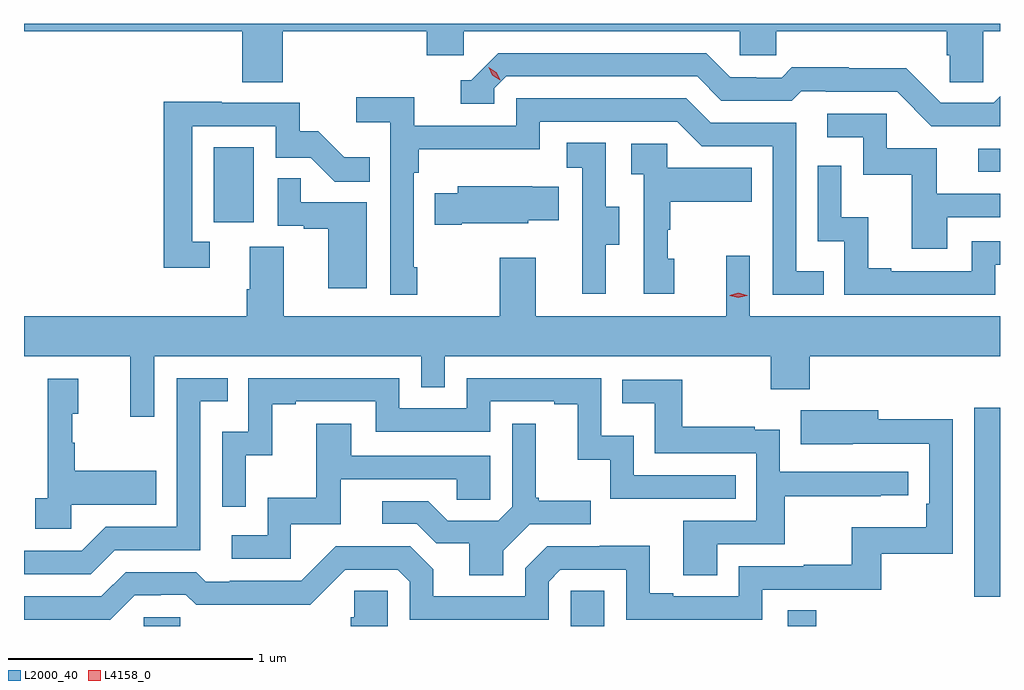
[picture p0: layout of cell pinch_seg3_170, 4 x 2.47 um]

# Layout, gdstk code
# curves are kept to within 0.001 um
import gdstk
lib = gdstk.Library(unit=1e-6, precision=1e-09)
def R(c, l, rs):  # rectangles x0, y0, x1, y1
    for r in rs: c.add(gdstk.rectangle(r[:2], r[2:], *l))
def P(c, l, *ps):  # polygons
    for p in ps: c.add(gdstk.Polygon(p, *l))
L2000_40 = (2000, 40)
L4158_0 = (4158, 0)

pinch_seg3_170 = lib.new_cell('pinch_seg3_170')
R(pinch_seg3_170, L2000_40, [(983.991,746.429,984.141,746.466), (985.74,746.429,985.879,746.576), (986.631,746.429,986.747,746.495), (987.395,746.55,987.5,747.325), (984.278,748.086,984.442,748.393), (987.411,748.293,987.5,748.386)])
P(pinch_seg3_170, L2000_40, [(984.56,748.868),(985.151,748.868),(985.151,748.77),(985.302,748.77),(985.302,748.868),(986.433,748.868),(986.433,748.77),(986.583,748.77),(986.583,748.868),(987.281,748.868),(987.281,748.77),(987.295,748.77),(987.295,748.66),(987.432,748.66),(987.432,748.868),(987.5,748.868),(987.5,748.9),(983.5,748.9),(983.5,748.868),(984.395,748.868),(984.395,748.66),(984.56,748.66)],
  [(987.5,748.601),(987.474,748.575),(987.258,748.575),(987.116,748.717),(986.88,748.717),(986.88,748.72),(986.647,748.72),(986.605,748.677),(986.502,748.677),(986.502,748.68),(986.395,748.68),(986.296,748.779),(985.443,748.779),(985.332,748.668),(985.289,748.668),(985.289,748.572),(985.428,748.572),(985.428,748.635),(985.476,748.683),(986.259,748.683),(986.358,748.584),(986.647,748.584),(986.686,748.623),(986.785,748.623),(986.785,748.62),(987.078,748.62),(987.219,748.479),(987.5,748.479)],
  [(985.111,747.901),(985.098,747.901),(985.098,748.289),(985.118,748.289),(985.118,748.385),(985.614,748.385),(985.614,748.497),(986.178,748.497),(986.277,748.398),(986.568,748.398),(986.568,747.789),(986.777,747.789),(986.777,747.885),(986.664,747.885),(986.664,748.494),(986.314,748.494),(986.215,748.593),(985.518,748.593),(985.518,748.482),(985.1,748.482),(985.1,748.598),(984.861,748.598),(984.861,748.496),(985.002,748.496),(985.002,747.789),(985.111,747.789)],
  [(984.262,748.005),(984.189,748.005),(984.189,748.479),(984.531,748.479),(984.531,748.35),(984.675,748.35),(984.773,748.252),(984.917,748.252),(984.917,748.351),(984.813,748.351),(984.706,748.458),(984.63,748.458),(984.63,748.575),(984.311,748.575),(984.311,748.58),(984.073,748.58),(984.073,747.9),(984.262,747.9)],
  [(987.283,748.107),(987.5,748.107),(987.5,748.203),(987.241,748.203),(987.241,748.389),(987.036,748.389),(987.036,748.53),(986.793,748.53),(986.793,748.434),(986.94,748.434),(986.94,748.281),(987.139,748.281),(987.139,747.978),(987.283,747.978)],
  [(985.885,747.994),(985.939,747.994),(985.939,748.149),(985.884,748.149),(985.884,748.412),(985.725,748.412),(985.725,748.309),(985.788,748.309),(985.788,748.005),(985.787,748.005),(985.787,747.792),(985.885,747.792)],
  [(986.164,747.936),(986.139,747.936),(986.139,748.055),(986.149,748.055),(986.149,748.169),(986.483,748.169),(986.483,748.309),(986.136,748.309),(986.136,748.407),(985.989,748.407),(985.989,748.283),(986.04,748.283),(986.04,747.792),(986.164,747.792)],
  [(987.48,747.912),(987.5,747.912),(987.5,748.008),(987.384,748.008),(987.384,747.885),(987.055,747.885),(987.055,747.898),(986.96,747.898),(986.96,748.106),(986.85,748.106),(986.85,748.318),(986.754,748.318),(986.754,748.008),(986.862,748.008),(986.862,747.789),(987.48,747.789)],
  [(984.904,748.167),(984.635,748.167),(984.635,748.265),(984.54,748.265),(984.54,748.071),(984.647,748.071),(984.647,748.059),(984.746,748.059),(984.746,747.816),(984.904,747.816)],
  [(985.294,748.082),(985.566,748.082),(985.566,748.094),(985.691,748.094),(985.691,748.231),(985.583,748.231),(985.583,748.234),(985.277,748.234),(985.277,748.204),(985.183,748.204),(985.183,748.075),(985.294,748.075)],
  [(985.128,747.409),(985.224,747.409),(985.224,747.536),(986.56,747.536),(986.56,747.401),(986.72,747.401),(986.72,747.536),(987.5,747.536),(987.5,747.7),(986.475,747.7),(986.475,747.949),(986.378,747.949),(986.378,747.7),(985.597,747.7),(985.597,747.94),(985.45,747.94),(985.45,747.7),(984.565,747.7),(984.565,747.986),(984.425,747.986),(984.425,747.812),(984.413,747.812),(984.413,747.7),(983.5,747.7),(983.5,747.536),(983.936,747.536),(983.936,747.288),(984.033,747.288),(984.033,747.536),(985.128,747.536)],
  [(984.408,747.131),(984.518,747.131),(984.518,747.339),(984.613,747.339),(984.613,747.351),(984.942,747.351),(984.942,747.228),(985.41,747.228),(985.41,747.351),(985.673,747.351),(985.673,747.339),(985.769,747.339),(985.769,747.113),(985.902,747.113),(985.902,746.952),(986.417,746.952),(986.417,747.048),(985.998,747.048),(985.998,747.211),(985.866,747.211),(985.866,747.447),(985.314,747.447),(985.314,747.324),(985.038,747.324),(985.038,747.447),(984.42,747.447),(984.42,747.228),(984.312,747.228),(984.312,746.919),(984.408,746.919)],
  [(983.872,746.742),(984.222,746.742),(984.222,747.351),(984.335,747.351),(984.335,747.447),(984.126,747.447),(984.126,746.838),(983.835,746.838),(983.736,746.739),(983.5,746.739),(983.5,746.643),(983.773,746.643)],
  [(983.694,746.927),(984.041,746.927),(984.041,747.067),(983.707,747.067),(983.707,747.182),(983.697,747.182),(983.697,747.3),(983.722,747.3),(983.722,747.445),(983.598,747.445),(983.598,746.954),(983.547,746.954),(983.547,746.829),(983.694,746.829)],
  [(986.341,746.766),(986.618,746.766),(986.618,746.962),(987.011,746.962),(987.011,746.967),(987.124,746.967),(987.124,747.063),(986.598,747.063),(986.598,747.235),(986.495,747.235),(986.495,747.247),(986.197,747.247),(986.197,747.441),(985.951,747.441),(985.951,747.344),(986.086,747.344),(986.086,747.138),(986.502,747.138),(986.502,746.862),(986.201,746.862),(986.201,746.638),(986.341,746.638)],
  [(983.953,746.556),(984.06,746.556),(984.06,746.559),(984.163,746.559),(984.205,746.517),(984.438,746.517),(984.438,746.519),(984.674,746.519),(984.816,746.661),(985.032,746.661),(985.08,746.613),(985.08,746.457),(985.65,746.457),(985.65,746.613),(985.698,746.661),(985.968,746.661),(985.968,746.457),(986.526,746.457),(986.526,746.58),(987.013,746.58),(987.013,746.727),(987.306,746.727),(987.306,747.278),(987.001,747.278),(987.001,747.316),(986.683,747.316),(986.683,747.176),(987.21,747.177),(987.21,746.932),(987.197,746.932),(987.197,746.836),(986.892,746.836),(986.892,746.681),(986.695,746.681),(986.695,746.676),(986.43,746.676),(986.43,746.553),(986.161,746.553),(986.161,746.566),(986.065,746.566),(986.065,746.759),(985.86,746.759),(985.86,746.757),(985.644,746.757),(985.554,746.667),(985.554,746.553),(985.177,746.553),(985.177,746.663),(985.083,746.757),(984.777,746.757),(984.636,746.616),(984.343,746.616),(984.343,746.613),(984.244,746.613),(984.205,746.652),(983.916,746.652),(983.817,746.553),(983.5,746.553),(983.5,746.457),(983.854,746.457)],
  [(984.594,746.847),(984.799,746.847),(984.799,747.033),(985.273,747.033),(985.273,746.949),(985.41,746.949),(985.41,747.129),(984.841,747.129),(984.841,747.259),(984.697,747.259),(984.697,746.956),(984.498,746.956),(984.498,746.802),(984.351,746.802),(984.351,746.706),(984.594,746.706)],
  [(985.465,746.74),(985.572,746.847),(985.822,746.847),(985.822,746.944),(985.609,746.944),(985.609,746.956),(985.597,746.956),(985.597,747.259),(985.5,747.259),(985.5,746.919),(985.443,746.862),(985.237,746.862),(985.156,746.943),(984.969,746.943),(984.969,746.85),(985.11,746.85),(985.19,746.77),(985.325,746.77),(985.325,746.638),(985.465,746.638)],
  [(984.99,746.576),(984.853,746.576),(984.853,746.466),(984.839,746.466),(984.839,746.429),(984.99,746.429)])
P(pinch_seg3_170, L4158_0, [(985.451,748.668),(985.42,748.688),(985.404,748.72),(985.404,748.72),(985.404,748.72),(985.435,748.701),(985.451,748.669),(985.451,748.668)],
  [(986.428,747.776),(986.393,747.785),(986.392,747.786),(986.393,747.786),(986.428,747.796),(986.464,747.786),(986.464,747.786),(986.464,747.785)])

lib.write_gds('pinch_seg3_170.gds')
